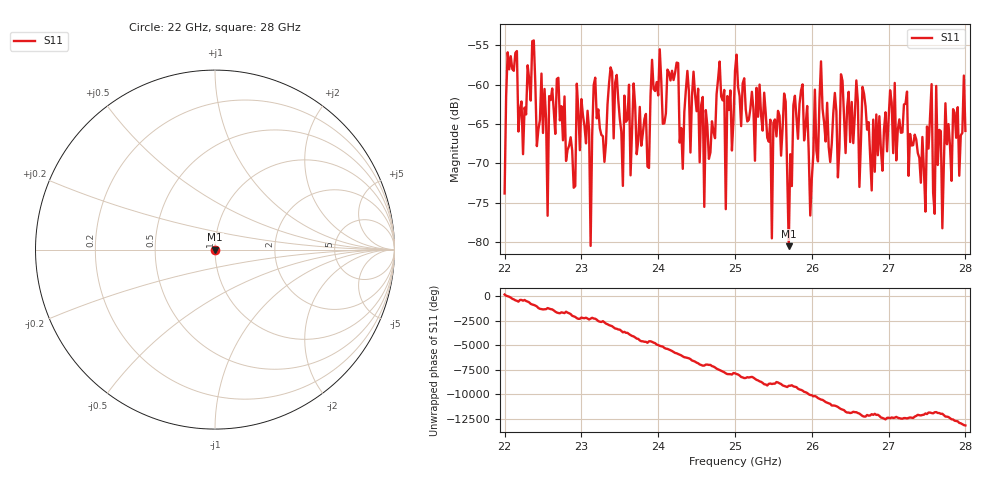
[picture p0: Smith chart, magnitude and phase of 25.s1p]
#  HZ  S  RI  R  50.00
! Rohde & Schwarz ZVA40 4Ports - Version 3.90 - 1145.1110k42 SN: 100403
! Date: 2023-10-04 08:06:03
! Measurement: S12
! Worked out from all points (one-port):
!   301 points, 22 GHz to 28 GHz, reference 50 ohm
!   lowest |S11| = -80.5 dB at 25.7 GHz (marker M1), VSWR 1.00, Z = 50 - j0.00758 ohm
!   |S11| at or under -10 dB: start of sweep to end of sweep
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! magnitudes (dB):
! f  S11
! 22 GHz  -73.8
! 22.04 GHz  -55.9
! 22.24 GHz  -68.8
! 22.38 GHz  -54.4
! 22.56 GHz  -76.7
! 22.58 GHz  -61.5
! 22.76 GHz  -67.1
! 23.08 GHz  -63.3
! 23.12 GHz  -80.5
! 23.18 GHz  -59.1
! 23.5 GHz  -64.4
! 24.26 GHz  -57.3
! 24.32 GHz  -70.7
! 24.58 GHz  -61.6
! 24.6 GHz  -75.5
! 24.88 GHz  -75.8
! 25 GHz  -58.3
! 25.46 GHz  -64.5
! 25.48 GHz  -79.5
! 25.5 GHz  -64.9
! 25.64 GHz  -61.1
! 25.7 GHz  -80.5
! 25.76 GHz  -62.6
! 25.98 GHz  -76.6
! 26.12 GHz  -57.1
! 26.5 GHz  -67.3
! 27.26 GHz  -71.6
! 28 GHz  -65.9
